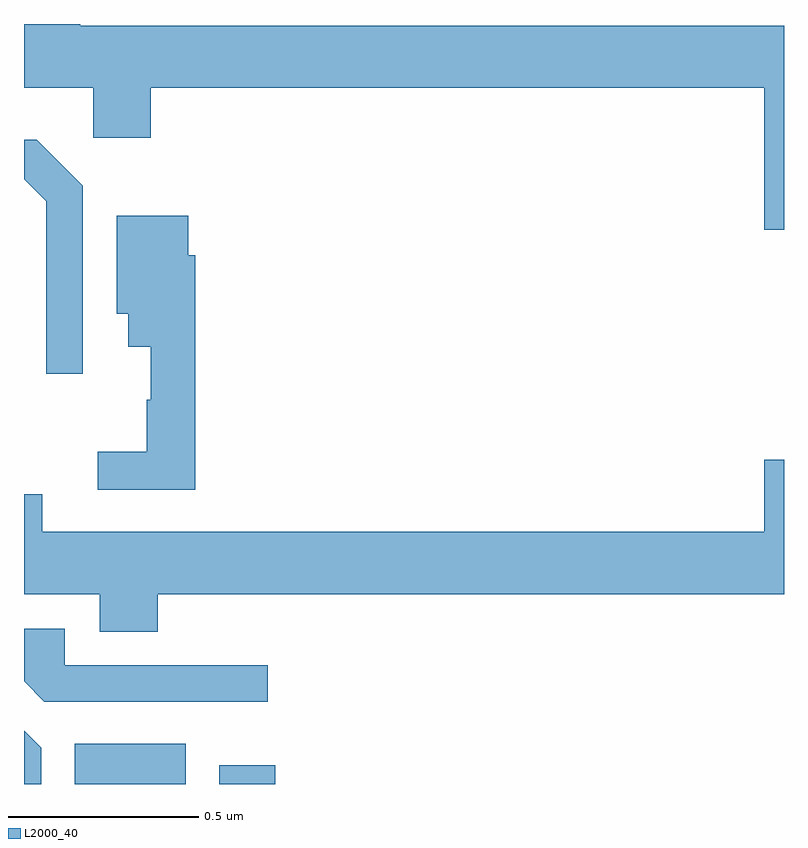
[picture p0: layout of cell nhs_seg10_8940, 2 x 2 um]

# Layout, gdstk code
import gdstk
lib = gdstk.Library(unit=1e-6, precision=1e-09)
def R(c, l, rs):  # rectangles x0, y0, x1, y1
    for r in rs: c.add(gdstk.rectangle(r[:2], r[2:], *l))
def P(c, l, *ps):  # polygons
    for p in ps: c.add(gdstk.Polygon(p, *l))
L2000_40 = (2000, 40)

nhs_seg10_8940 = lib.new_cell('nhs_seg10_8940')
R(nhs_seg10_8940, L2000_40, [(223.133,1282.5,223.426,1282.606), (223.514,1282.5,223.661,1282.549)])
P(nhs_seg10_8940, L2000_40, [(225,1284.496),(223.148,1284.496),(223.148,1284.5),(223,1284.5),(223,1284.332),(223.182,1284.332),(223.182,1284.201),(223.334,1284.201),(223.334,1284.332),(224.948,1284.332),(224.948,1283.958),(225,1283.958)],
  [(223.155,1284.075),(223.034,1284.196),(223,1284.196),(223,1284.092),(223.059,1284.033),(223.059,1283.58),(223.155,1283.58)],
  [(223.451,1283.891),(223.432,1283.891),(223.432,1283.995),(223.244,1283.995),(223.244,1283.738),(223.274,1283.738),(223.274,1283.651),(223.334,1283.651),(223.334,1283.511),(223.323,1283.511),(223.323,1283.375),(223.194,1283.375),(223.194,1283.274),(223.451,1283.274)],
  [(223.352,1283),(225,1283),(225,1283.353),(224.948,1283.353),(224.948,1283.164),(223.048,1283.164),(223.048,1283.262),(223,1283.262),(223,1283),(223.199,1283),(223.199,1282.901),(223.352,1282.901)],
  [(223.642,1282.812),(223.107,1282.812),(223.107,1282.908),(223,1282.908),(223,1282.77),(223.053,1282.716),(223.642,1282.716)],
  [(223.045,1282.595),(223,1282.64),(223,1282.5),(223.045,1282.5)])

lib.write_gds('nhs_seg10_8940.gds')
